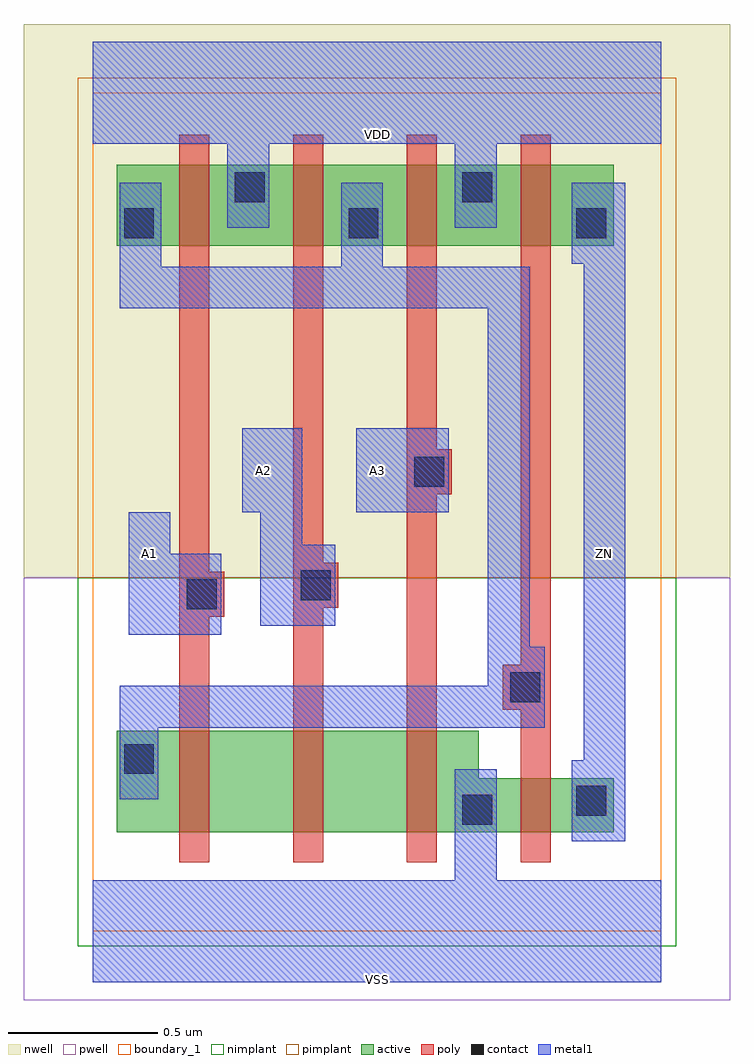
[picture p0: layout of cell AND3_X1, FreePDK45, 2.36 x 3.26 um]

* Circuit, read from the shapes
.subckt AND3_X1 A1 A2 A3 VDD VSS ZN
M1 n1 A1 n2 VSUBS nfet w=0.34u l=0.1u
M2 n3 A2 n1 VSUBS nfet w=0.34u l=0.1u
M3 VSS A3 n3 VSUBS nfet w=0.34u l=0.1u
M4 ZN n2 VSS VSUBS nfet w=0.18u l=0.1u
M5 VDD A1 n2 n4 pfet w=0.27u l=0.1u
M6 n2 A2 VDD n4 pfet w=0.27u l=0.1u
M7 VDD A3 n2 n4 pfet w=0.27u l=0.1u
M8 ZN n2 VDD n4 pfet w=0.27u l=0.1u
.ends

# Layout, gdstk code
import gdstk
lib = gdstk.Library(unit=1e-6, precision=1e-09)
def R(c, l, rs):  # rectangles x0, y0, x1, y1
    for r in rs: c.add(gdstk.rectangle(r[:2], r[2:], *l))
def P(c, l, *ps):  # polygons
    for p in ps: c.add(gdstk.Polygon(p, *l))
active = (1, 0)
pwell = (2, 0)
nwell = (3, 0)
nimplant = (4, 0)
pimplant = (5, 0)
poly = (9, 0)
contact = (10, 0)
metal1 = (11, 0)
boundary_1 = (235, 1)

and3_x1 = lib.new_cell('AND3_X1')
R(and3_x1, active, [(0.08,2.29,1.74,2.56)])
P(and3_x1, active, [(0.08,0.33),(1.74,0.33),(1.74,0.51),(1.29,0.51),(1.29,0.67),(0.08,0.67)])
R(and3_x1, pwell, [(-0.23,-0.23,2.13,1.18)])
R(and3_x1, nwell, [(-0.23,1.18,2.13,3.03)])
R(and3_x1, nimplant, [(-0.05,-0.05,1.95,1.18)])
R(and3_x1, pimplant, [(-0.05,1.18,1.95,2.85)])
P(and3_x1, poly, [(1.37,0.74),(1.43,0.74),(1.43,0.23),(1.53,0.23),(1.53,2.66),(1.43,2.66),(1.43,0.89),(1.37,0.89)],
  [(1.05,0.23),(1.15,0.23),(1.15,1.46),(1.2,1.46),(1.2,1.61),(1.15,1.61),(1.15,2.66),(1.05,2.66)],
  [(0.67,0.23),(0.77,0.23),(0.77,1.08),(0.82,1.08),(0.82,1.23),(0.77,1.23),(0.77,2.66),(0.67,2.66)],
  [(0.29,0.23),(0.39,0.23),(0.39,1.05),(0.44,1.05),(0.44,1.2),(0.39,1.2),(0.39,2.66),(0.29,2.66)])
R(and3_x1, contact, [(1.235,0.355,1.335,0.455), (1.615,0.385,1.715,0.485), (0.105,0.525,0.205,0.625), (1.395,0.765,1.495,0.865), (0.315,1.075,0.415,1.175), (0.695,1.105,0.795,1.205), (1.075,1.485,1.175,1.585), (0.105,2.315,0.205,2.415), (0.855,2.315,0.955,2.415), (1.615,2.315,1.715,2.415), (0.475,2.435,0.575,2.535), (1.235,2.435,1.335,2.535)])
R(and3_x1, metal1, [(0.88,1.4,1.19,1.68), (0.88,1.4,1.19,1.68)])
P(and3_x1, metal1, [(1.6,2.23),(1.64,2.23),(1.64,0.57),(1.6,0.57),(1.6,0.3),(1.78,0.3),(1.78,2.5),(1.6,2.5)],
  [(0.5,1.4),(0.56,1.4),(0.56,1.02),(0.81,1.02),(0.81,1.29),(0.7,1.29),(0.7,1.68),(0.5,1.68)],
  [(0,-0.17),(1.9,-0.17),(1.9,0.17),(1.35,0.17),(1.35,0.54),(1.21,0.54),(1.21,0.17),(0,0.17)],
  [(0.12,0.99),(0.43,0.99),(0.43,1.26),(0.26,1.26),(0.26,1.4),(0.12,1.4)],
  [(0,2.63),(0.45,2.63),(0.45,2.35),(0.59,2.35),(0.59,2.63),(1.21,2.63),(1.21,2.35),(1.35,2.35),(1.35,2.63),(1.9,2.63),(1.9,2.97),(0,2.97)],
  [(0,2.63),(0.45,2.63),(0.45,2.35),(0.59,2.35),(0.59,2.63),(1.21,2.63),(1.21,2.35),(1.35,2.35),(1.35,2.63),(1.9,2.63),(1.9,2.97),(0,2.97)],
  [(0,-0.17),(1.9,-0.17),(1.9,0.17),(1.35,0.17),(1.35,0.54),(1.21,0.54),(1.21,0.17),(0,0.17)],
  [(1.6,2.23),(1.64,2.23),(1.64,0.57),(1.6,0.57),(1.6,0.3),(1.78,0.3),(1.78,2.5),(1.6,2.5)],
  [(0.09,2.08),(1.32,2.08),(1.32,0.82),(0.09,0.82),(0.09,0.44),(0.22,0.44),(0.22,0.68),(1.51,0.68),(1.51,0.95),(1.46,0.95),(1.46,2.22),(0.97,2.22),(0.97,2.5),(0.83,2.5),(0.83,2.22),(0.23,2.22),(0.23,2.5),(0.09,2.5)],
  [(0.5,1.4),(0.56,1.4),(0.56,1.02),(0.81,1.02),(0.81,1.29),(0.7,1.29),(0.7,1.68),(0.5,1.68)],
  [(0.12,0.99),(0.43,0.99),(0.43,1.26),(0.26,1.26),(0.26,1.4),(0.12,1.4)])
R(and3_x1, boundary_1, [(0,0,1.9,2.8)])
and3_x1.add(gdstk.Label('ZN', (1.71,1.26), layer=11, texttype=0))
and3_x1.add(gdstk.Label('VSS', (0.95,-0.16), layer=11, texttype=0))
and3_x1.add(gdstk.Label('VDD', (0.95,2.66), layer=11, texttype=0))
and3_x1.add(gdstk.Label('A3', (0.95,1.54), layer=11, texttype=0))
and3_x1.add(gdstk.Label('A2', (0.57,1.54), layer=11, texttype=0))
and3_x1.add(gdstk.Label('A1', (0.19,1.26), layer=11, texttype=0))

lib.write_gds('AND3_X1.gds')
